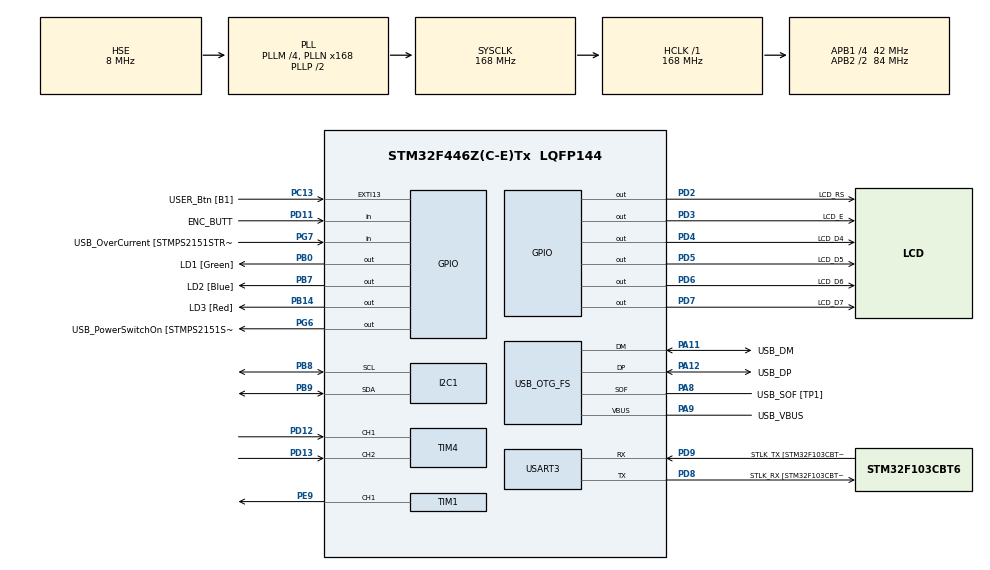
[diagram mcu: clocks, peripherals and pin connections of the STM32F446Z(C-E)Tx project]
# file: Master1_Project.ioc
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FREERTOS.Events01=smEvent,Dynamic,NULL;funcEvent,Dynamic,NULL;ledEvent,Dynamic,NULL
FREERTOS.Mutexes01=mpuMode,Dynamic,NULL,Available;convMode,Dynamic,NULL,Available
FREERTOS.Queues01=myADXLQueue,16,uint16_t,0,Dynamic,NULL,NULL;myVibratorQueue,16,uint16_t,0,Dynamic,NULL,NULL
FREERTOS.Tasks01=defaultTask,24,128,StartDefaultTask,Default,NULL,Dynamic,NULL,NULL;encoderTask,8,128,encoder,Default,NULL,Dynamic,NULL,NULL;SM_Task,8,128,StateMachine,Default,NULL,Dynamic,NULL,NULL;ledsTask,8,128,leds,Default,NULL,Dynamic,NULL,NULL;infoFuncTask,8,128,infoFunc,Default,NULL,Dynamic,NULL,NULL;sensFuncTask,8,128,sensFunc,Default,NULL,Dynamic,NULL,NULL;convFuncTask,8,128,convFunc,Default,NULL,Dynamic,NULL,NULL;actFuncTask,8,128,actFunc,Default,NULL,Dynamic,NULL,NULL;mpuFuncTask,8,128,mpuFunc,Default,NULL,Dynamic,NULL,NULL;MappingThread,8,128,StartMappingThread,Default,NULL,Dynamic,NULL,NULL;DutycycleThread,8,128,StartDutycycleThread,Default,NULL,Dynamic,NULL,NULL;VibratorThread,8,128,StartVibratorThread,Default,NULL,Dynamic,NULL,NULL
I2C1.I2C_Mode=I2C_Fast
Mcu.Family=STM32F4
Mcu.Name=STM32F446Z(C-E)Tx
Mcu.Package=LQFP144
NVIC.PriorityGroup=NVIC_PRIORITYGROUP_4
NVIC.TIM4_IRQn=true\:5\:0\:false\:false\:true\:true\:true\:true\:true
PA10.GPIO_Label=USB_ID
PA10.Signal=USB_OTG_FS_ID
PA11.GPIO_Label=USB_DM
PA11.Mode=Device_Only
PA11.Signal=USB_OTG_FS_DM
PA12.GPIO_Label=USB_DP
PA12.Mode=Device_Only
PA12.Signal=USB_OTG_FS_DP
PA13.GPIO_Label=TMS
PA13.Mode=Serial_Wire
PA13.Signal=SYS_JTMS-SWDIO
PA14.GPIO_Label=TCK
PA14.Mode=Serial_Wire
PA14.Signal=SYS_JTCK-SWCLK
PA8.GPIO_Label=USB_SOF [TP1]
PA8.Mode=Activate_SOF_FS
PA8.Signal=USB_OTG_FS_SOF
PA9.GPIO_Label=USB_VBUS
PA9.Mode=Activate_VBUS
PA9.Signal=USB_OTG_FS_VBUS
PB0.GPIO_Label=LD1 [Green]
PB0.Signal=GPIO_Output
PB14.GPIO_Label=LD3 [Red]
PB14.Signal=GPIO_Output
PB7.GPIO_Label=LD2 [Blue]
PB7.Signal=GPIO_Output
PB8.Mode=I2C
PB8.Signal=I2C1_SCL
PB9.Mode=I2C
PB9.Signal=I2C1_SDA
PC13.GPIO_Label=USER_Btn [B1]
PC13.Signal=GPXTI13
PC14-OSC32_IN.Mode=LSE-External-Oscillator
PC14-OSC32_IN.Signal=RCC_OSC32_IN
PC15-OSC32_OUT.Mode=LSE-External-Oscillator
PC15-OSC32_OUT.Signal=RCC_OSC32_OUT
PD11.GPIO_Label=ENC_BUTT
PD11.GPIO_PuPd=GPIO_PULLUP
PD11.Signal=GPIO_Input
PD12.Signal=S_TIM4_CH1
PD13.Signal=S_TIM4_CH2
PD2.GPIO_Label=LCD_RS
PD2.GPIO_PuPd=GPIO_PULLDOWN
PD2.Signal=GPIO_Output
PD3.GPIO_Label=LCD_E
PD3.GPIO_PuPd=GPIO_PULLDOWN
PD3.Signal=GPIO_Output
PD4.GPIO_Label=LCD_D4
PD4.GPIO_PuPd=GPIO_PULLDOWN
PD4.Signal=GPIO_Output
PD5.GPIO_Label=LCD_D5
PD5.GPIO_PuPd=GPIO_PULLDOWN
PD5.Signal=GPIO_Output
PD6.GPIO_Label=LCD_D6
PD6.GPIO_PuPd=GPIO_PULLDOWN
PD6.Signal=GPIO_Output
PD7.GPIO_Label=LCD_D7
PD7.GPIO_PuPd=GPIO_PULLDOWN
PD7.Signal=GPIO_Output
PD8.GPIO_Label=STLK_RX [STM32F103CBT6_PA3]
PD8.Mode=Asynchronous
PD8.Signal=USART3_TX
PD9.GPIO_Label=STLK_TX [STM32F103CBT6_PA2]
PD9.Mode=Asynchronous
PD9.Signal=USART3_RX
PE9.Signal=S_TIM1_CH1
PG6.GPIO_Label=USB_PowerSwitchOn [STMPS2151STR_EN]
PG6.Signal=GPIO_Output
PG7.GPIO_Label=USB_OverCurrent [STMPS2151STR_FAULT]
PG7.Signal=GPIO_Input
PH0-OSC_IN.GPIO_Label=MCO [STM32F103CBT6_PA8]
PH0-OSC_IN.Mode=HSE-External-Clock-Source
PH0-OSC_IN.Signal=RCC_OSC_IN
PH1-OSC_OUT.Mode=HSE-External-Clock-Source
PH1-OSC_OUT.Signal=RCC_OSC_OUT
ProjectManager.HeapSize=0x200
ProjectManager.StackSize=0x400
ProjectManager.TargetToolchain=STM32CubeIDE
RCC.48MHZClocksFreq_Value=24000000
RCC.AHBFreq_Value=168000000
RCC.APB1CLKDivider=RCC_HCLK_DIV4
RCC.APB1Freq_Value=42000000
RCC.APB1TimFreq_Value=84000000
RCC.APB2CLKDivider=RCC_HCLK_DIV2
RCC.APB2Freq_Value=84000000
RCC.APB2TimFreq_Value=168000000
RCC.CortexFreq_Value=168000000
RCC.HCLKFreq_Value=168000000
RCC.HSE_VALUE=8000000
RCC.HSI_VALUE=16000000
RCC.PLLM=4
RCC.PLLMUL=RCC_PLL_MUL9
RCC.PLLN=168
RCC.PLLQ=7
RCC.PRESCALERUSB=RCC_USBCLKSOURCE_PLL_DIV1_5
RCC.SYSCLKFreq_VALUE=168000000
RCC.SYSCLKSource=RCC_SYSCLKSOURCE_PLLCLK
RCC.SYSCLKSourceVirtual=RCC_SYSCLKSOURCE_PLLCLK
RCC.USBFreq_Value=48000000
RCC.VCOOutputFreq_Value=336000000
SH.S_TIM1_CH1.0=TIM1_CH1,PWM Generation1 CH1
SH.S_TIM4_CH1.0=TIM4_CH1,Encoder_Interface
SH.S_TIM4_CH2.0=TIM4_CH2,Encoder_Interface
TIM1.Channel-PWM\ Generation1\ CH1=TIM_CHANNEL_1
TIM1.Period=999
TIM1.Prescaler=15
TIM1.Pulse-PWM\ Generation1\ CH1=32767
TIM4.EncoderMode=TIM_ENCODERMODE_TI12
TIM4.IC1Polarity=TIM_ICPOLARITY_FALLING
TIM4.IC2Polarity=TIM_ICPOLARITY_FALLING
USART3.VirtualMode=VM_ASYNC
USB_OTG_FS.VirtualMode=Device_Only
VP_FREERTOS_VS_CMSIS_V2.Mode=CMSIS_V2
board=NUCLEO-F446ZE

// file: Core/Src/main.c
/* USER CODE BEGIN Header */
/**
  ******************************************************************************
  * @file           : main.c
  * @brief          : Main program body
  ******************************************************************************
  * @attention
  *
  * Copyright (c) 2025 STMicroelectronics.
  * All rights reserved.
  *
  * This software is licensed under terms that can be found in the LICENSE file
  * in the root directory of this software component.
  * If no LICENSE file comes with this software, it is provided AS-IS.
  *
  ******************************************************************************
  */
/* USER CODE END Header */
#include "main.h"
#include "cmsis_os.h"
#include "i2c.h"
#include "tim.h"
#include "usart.h"
#include "usb_otg.h"
#include "gpio.h"

/* USER CODE BEGIN Includes */
#include "lcd.h"
#include "ADXL345.h"
/* USER CODE END Includes */

void SystemClock_Config(void);
void MX_FREERTOS_Init(void);

int main(void)
{

  /* MCU Configuration--------------------------------------------------------*/

  /* Reset of all peripherals, Initializes the Flash interface and the Systick. */
  HAL_Init();

  /* Configure the system clock */
  SystemClock_Config();

  /* Initialize all configured peripherals */
  MX_GPIO_Init();
  MX_USART3_UART_Init();
  MX_USB_OTG_FS_PCD_Init();
  MX_TIM4_Init();
  MX_TIM1_Init();
  MX_I2C1_Init();
  /* USER CODE BEGIN 2 */
  HAL_TIM_Encoder_Start(&htim4, TIM_CHANNEL_ALL); // start encoder mode on TIM4
  HAL_TIM_PWM_Start(&htim1, TIM_CHANNEL_1); // start PWM D6 for VM

  HAL_Delay(100);
  initLCD();
  //ADXL345_Init();
  /* USER CODE END 2 */

  /* Init scheduler */
  osKernelInitialize();

  /* Call init function for freertos objects (in cmsis_os2.c) */
  MX_FREERTOS_Init();

  /* Start scheduler */
  osKernelStart();

  /* We should never get here as control is now taken by the scheduler */

  /* Infinite loop */
  while (1)
  {

  }
}

void SystemClock_Config(void)
{
  RCC_OscInitTypeDef RCC_OscInitStruct = {0};
  RCC_ClkInitTypeDef RCC_ClkInitStruct = {0};

  /** Configure the main internal regulator output voltage
  */
  __HAL_RCC_PWR_CLK_ENABLE();
  __HAL_PWR_VOLTAGESCALING_CONFIG(PWR_REGULATOR_VOLTAGE_SCALE1);

  /** Initializes the RCC Oscillators according to the specified parameters
  * in the RCC_OscInitTypeDef structure.
  */
  RCC_OscInitStruct.OscillatorType = RCC_OSCILLATORTYPE_HSE;
  RCC_OscInitStruct.HSEState = RCC_HSE_BYPASS;
  RCC_OscInitStruct.PLL.PLLState = RCC_PLL_ON;
  RCC_OscInitStruct.PLL.PLLSource = RCC_PLLSOURCE_HSE;
  RCC_OscInitStruct.PLL.PLLM = 4;
  RCC_OscInitStruct.PLL.PLLN = 168;
  RCC_OscInitStruct.PLL.PLLP = RCC_PLLP_DIV2;
  RCC_OscInitStruct.PLL.PLLQ = 7;
  RCC_OscInitStruct.PLL.PLLR = 2;
  if (HAL_RCC_OscConfig(&RCC_OscInitStruct) != HAL_OK)
  {
    Error_Handler();
  }

  /** Initializes the CPU, AHB and APB buses clocks
  */
  RCC_ClkInitStruct.ClockType = RCC_CLOCKTYPE_HCLK|RCC_CLOCKTYPE_SYSCLK
                              |RCC_CLOCKTYPE_PCLK1|RCC_CLOCKTYPE_PCLK2;
  RCC_ClkInitStruct.SYSCLKSource = RCC_SYSCLKSOURCE_PLLCLK;
  RCC_ClkInitStruct.AHBCLKDivider = RCC_SYSCLK_DIV1;
  RCC_ClkInitStruct.APB1CLKDivider = RCC_HCLK_DIV4;
  RCC_ClkInitStruct.APB2CLKDivider = RCC_HCLK_DIV2;

  if (HAL_RCC_ClockConfig(&RCC_ClkInitStruct, FLASH_LATENCY_5) != HAL_OK)
  {
    Error_Handler();
  }
}

void Error_Handler(void)
{
  __disable_irq();
  while (1)
  {
  }
}

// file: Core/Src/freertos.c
/* USER CODE BEGIN Header */
/**
  ******************************************************************************
  * File Name          : freertos.c
  * Description        : Code for freertos applications
  ******************************************************************************
  * @attention
  *
  * Copyright (c) 2025 STMicroelectronics.
  * All rights reserved.
  *
  * This software is licensed under terms that can be found in the LICENSE file
  * in the root directory of this software component.
  * If no LICENSE file comes with this software, it is provided AS-IS.
  *
  ******************************************************************************
  */
/* USER CODE END Header */

#include "FreeRTOS.h"
#include "task.h"
#include "main.h"
#include "cmsis_os.h"

/* USER CODE BEGIN Includes */
#include "tim.h"
#include "encoder.h"
#include "lcd.h"
#include "menu.h"
#include <stdio.h>
#include "ADXL345.h"
/* USER CODE END Includes */

/* USER CODE BEGIN PD */
#define FLAG_LED1		0x0001
#define FLAG_LED2		0x0002
#define FLAG_LED3		0x0004
/* USER CODE END PD */

/* USER CODE BEGIN Variables */
uint8_t conv_mode = 0; // 0 auto 1 manual
uint8_t mpu_mode = 0; // 0 acc 1 gyro 2 chock 3 threshold
/* USER CODE END Variables */
/* Definitions for defaultTask */
osThreadId_t defaultTaskHandle;
const osThreadAttr_t defaultTask_attributes = {
  .name = "defaultTask",
  .stack_size = 128 * 4,
  .priority = (osPriority_t) osPriorityNormal,
};
/* Definitions for encoderTask */
osThreadId_t encoderTaskHandle;
const osThreadAttr_t encoderTask_attributes = {
  .name = "encoderTask",
  .stack_size = 128 * 4,
  .priority = (osPriority_t) osPriorityLow,
};
/* Definitions for SM_Task */
osThreadId_t SM_TaskHandle;
const osThreadAttr_t SM_Task_attributes = {
  .name = "SM_Task",
  .stack_size = 128 * 4,
  .priority = (osPriority_t) osPriorityLow,
};
/* Definitions for ledsTask */
osThreadId_t ledsTaskHandle;
const osThreadAttr_t ledsTask_attributes = {
  .name = "ledsTask",
  .stack_size = 128 * 4,
  .priority = (osPriority_t) osPriorityLow,
};
/* Definitions for infoFuncTask */
osThreadId_t infoFuncTaskHandle;
const osThreadAttr_t infoFuncTask_attributes = {
  .name = "infoFuncTask",
  .stack_size = 128 * 4,
  .priority = (osPriority_t) osPriorityLow,
};
/* Definitions for sensFuncTask */
osThreadId_t sensFuncTaskHandle;
const osThreadAttr_t sensFuncTask_attributes = {
  .name = "sensFuncTask",
  .stack_size = 128 * 4,
  .priority = (osPriority_t) osPriorityLow,
};
/* Definitions for convFuncTask */
osThreadId_t convFuncTaskHandle;
const osThreadAttr_t convFuncTask_attributes = {
  .name = "convFuncTask",
  .stack_size = 128 * 4,
  .priority = (osPriority_t) osPriorityLow,
};
/* Definitions for actFuncTask */
osThreadId_t actFuncTaskHandle;
const osThreadAttr_t actFuncTask_attributes = {
  .name = "actFuncTask",
  .stack_size = 128 * 4,
  .priority = (osPriority_t) osPriorityLow,
};
/* Definitions for mpuFuncTask */
osThreadId_t mpuFuncTaskHandle;
const osThreadAttr_t mpuFuncTask_attributes = {
  .name = "mpuFuncTask",
  .stack_size = 128 * 4,
  .priority = (osPriority_t) osPriorityLow,
};
/* Definitions for MappingThread */
osThreadId_t MappingThreadHandle;
const osThreadAttr_t MappingThread_attributes = {
  .name = "MappingThread",
  .stack_size = 128 * 4,
  .priority = (osPriority_t) osPriorityLow,
};
/* Definitions for DutycycleThread */
osThreadId_t DutycycleThreadHandle;
const osThreadAttr_t DutycycleThread_attributes = {
  .name = "DutycycleThread",
  .stack_size = 128 * 4,
  .priority = (osPriority_t) osPriorityLow,
};
/* Definitions for VibratorThread */
osThreadId_t VibratorThreadHandle;
const osThreadAttr_t VibratorThread_attributes = {
  .name = "VibratorThread",
  .stack_size = 128 * 4,
  .priority = (osPriority_t) osPriorityLow,
};
/* Definitions for myADXLQueue */
osMessageQueueId_t myADXLQueueHandle;
const osMessageQueueAttr_t myADXLQueue_attributes = {
  .name = "myADXLQueue"
};
/* Definitions for myVibratorQueue */
osMessageQueueId_t myVibratorQueueHandle;
const osMessageQueueAttr_t myVibratorQueue_attributes = {
  .name = "myVibratorQueue"
};
/* Definitions for mpuMode */
osMutexId_t mpuModeHandle;
const osMutexAttr_t mpuMode_attributes = {
  .name = "mpuMode"
};
/* Definitions for convMode */
osMutexId_t convModeHandle;
const osMutexAttr_t convMode_attributes = {
  .name = "convMode"
};
/* Definitions for smEvent */
osEventFlagsId_t smEventHandle;
const osEventFlagsAttr_t smEvent_attributes = {
  .name = "smEvent"
};
/* Definitions for funcEvent */
osEventFlagsId_t funcEventHandle;
const osEventFlagsAttr_t funcEvent_attributes = {
  .name = "funcEvent"
};
/* Definitions for ledEvent */
osEventFlagsId_t ledEventHandle;
const osEventFlagsAttr_t ledEvent_attributes = {
  .name = "ledEvent"
};

/* USER CODE BEGIN FunctionPrototypes */
void exitFunc(void);
/* USER CODE END FunctionPrototypes */

void StartDefaultTask(void *argument);
void encoder(void *argument);
void StateMachine(void *argument);
void leds(void *argument);
void infoFunc(void *argument);
void sensFunc(void *argument);
void convFunc(void *argument);
void actFunc(void *argument);
void mpuFunc(void *argument);
void StartMappingThread(void *argument);
void StartDutycycleThread(void *argument);
void StartVibratorThread(void *argument);

void MX_FREERTOS_Init(void); /* (MISRA C 2004 rule 8.1) */

void MX_FREERTOS_Init(void) {
  /* Create the mutex(es) */
  /* creation of mpuMode */
  mpuModeHandle = osMutexNew(&mpuMode_attributes);

  /* creation of convMode */
  convModeHandle = osMutexNew(&convMode_attributes);

  /* Create the queue(s) */
  /* creation of myADXLQueue */
  myADXLQueueHandle = osMessageQueueNew (16, sizeof(uint16_t), &myADXLQueue_attributes);

  /* creation of myVibratorQueue */
  myVibratorQueueHandle = osMessageQueueNew (16, sizeof(uint16_t), &myVibratorQueue_attributes);

  /* Create the thread(s) */
  /* creation of defaultTask */
  defaultTaskHandle = osThreadNew(StartDefaultTask, NULL, &defaultTask_attributes);

  /* creation of encoderTask */
  encoderTaskHandle = osThreadNew(encoder, NULL, &encoderTask_attributes);

  /* creation of SM_Task */
  SM_TaskHandle = osThreadNew(StateMachine, NULL, &SM_Task_attributes);

  /* creation of ledsTask */
  ledsTaskHandle = osThreadNew(leds, NULL, &ledsTask_attributes);

  /* creation of infoFuncTask */
  infoFuncTaskHandle = osThreadNew(infoFunc, NULL, &infoFuncTask_attributes);

  /* creation of sensFuncTask */
  sensFuncTaskHandle = osThreadNew(sensFunc, NULL, &sensFuncTask_attributes);

  /* creation of convFuncTask */
  convFuncTaskHandle = osThreadNew(convFunc, NULL, &convFuncTask_attributes);

  /* creation of actFuncTask */
  actFuncTaskHandle = osThreadNew(actFunc, NULL, &actFuncTask_attributes);

  /* creation of mpuFuncTask */
  mpuFuncTaskHandle = osThreadNew(mpuFunc, NULL, &mpuFuncTask_attributes);

  /* creation of MappingThread */
  MappingThreadHandle = osThreadNew(StartMappingThread, NULL, &MappingThread_attributes);

  /* creation of DutycycleThread */
  DutycycleThreadHandle = osThreadNew(StartDutycycleThread, NULL, &DutycycleThread_attributes);

  /* creation of VibratorThread */
  VibratorThreadHandle = osThreadNew(StartVibratorThread, NULL, &VibratorThread_attributes);

  /* creation of smEvent */
  smEventHandle = osEventFlagsNew(&smEvent_attributes);

  /* creation of funcEvent */
  funcEventHandle = osEventFlagsNew(&funcEvent_attributes);

  /* creation of ledEvent */
  ledEventHandle = osEventFlagsNew(&ledEvent_attributes);

}

void StartDefaultTask(void *argument)
{
  for(;;)
  {
    osDelay(1);
  }
}

void encoder(void *argument)
{
  /* USER CODE BEGIN encoder */
  /* Infinite loop */
  for(;;)
  {
		encoder_update();
		encoder_button_update();

		osDelay(10);  // 100 Hz
  }
  /* USER CODE END encoder */
}

void StateMachine(void *argument)
{
  /* USER CODE BEGIN StateMachine */
  static bool FIF = false;
  static int16_t last_step = -1;  // Rendue statique pour garder la valeur entre les appels

  for(;;)
  {
    uint32_t flags = osEventFlagsGet(smEventHandle);

    if (!(flags & FLAG_SM_OFF))  // tant que menu actif
    {
      if (!FIF) {
        if (last_step >= 0) {
          encoder_set_step(last_step);  // Revenir à la dernière position connue
        }

        encoder_set_min(0);
        encoder_set_max(4);

        const menu_state_t *entry = NULL;
        for (int i = 0; menu_state[i].text != NULL; i++) {
          if (menu_state[i].step == last_step) {
            entry = &menu_state[i];
            break;
          }
        }

        if (entry != NULL) {
          clearLCD();
          setCursor(0, 0);
          writeLCD(entry->text);  // Réafficher le texte correspondant
        }

        FIF = true;  // On a fait le setup d'entrée
      }

      osEventFlagsSet(ledEventHandle, FLAG_LED1);  // Clignotement menu actif

      int16_t step = encoder_get_steps();
      bool button = encoder_get_button();

      if (step != last_step)
      {
        const menu_state_t *entry = NULL;
        for (int i = 0; menu_state[i].text != NULL; i++) {
          if (menu_state[i].step == step) {
            entry = &menu_state[i];
            break;
          }
        }

        if (entry != NULL) {
          clearLCD();
          setCursor(0, 0);
          writeLCD(entry->text);
          last_step = step;
        }
      }

      if (button)
      {
        osEventFlagsSet(ledEventHandle, FLAG_LED2);

        const menu_state_t *entry = NULL;
        for (int i = 0; menu_state[i].text != NULL; i++) {
          if (menu_state[i].step == step) {
            entry = &menu_state[i];
            break;
          }
        }

        if (entry != NULL) {
          osEventFlagsSet(funcEventHandle, entry->flag); // set task flag
          osEventFlagsSet(smEventHandle, FLAG_SM_OFF);   // exit statemachine
          FIF = false;  // Réinitialise pour le prochain retour dans le menu
        }
      }
    }
    else
    {
      osDelay(100);  // Repos hors mode menu
    }

    osDelay(20); // 50 Hz
  }
  /* USER CODE END StateMachine */
}

void leds(void *argument)
{
  /* USER CODE BEGIN leds */
  /* Infinite loop */
  for(;;)
  {
	  uint32_t flags = osEventFlagsWait(ledEventHandle, FLAG_LED1|FLAG_LED2|FLAG_LED3, osFlagsWaitAny, osWaitForever);

	  if (flags & FLAG_LED1) {
		HAL_GPIO_WritePin(LD1_GPIO_Port, LD1_Pin, GPIO_PIN_SET);
		osDelay(50);
		HAL_GPIO_WritePin(LD1_GPIO_Port, LD1_Pin, GPIO_PIN_RESET);

	  }

	  if (flags & FLAG_LED2) {
		HAL_GPIO_WritePin(LD2_GPIO_Port, LD2_Pin, GPIO_PIN_SET);
		osDelay(50);
		HAL_GPIO_WritePin(LD2_GPIO_Port, LD2_Pin, GPIO_PIN_RESET);

	  }

	  if (flags & FLAG_LED3) {
		HAL_GPIO_WritePin(LD3_GPIO_Port, LD3_Pin, GPIO_PIN_SET);
		osDelay(50);
		HAL_GPIO_WritePin(LD3_GPIO_Port, LD3_Pin, GPIO_PIN_RESET);
	  }
		osDelay(50);
  }
  /* USER CODE END leds */
}

void infoFunc(void *argument)
{
  /* USER CODE BEGIN infoFunc */
  static bool FIF = false; // first in function
  /* Infinite loop */
  for(;;)
  {
	  uint32_t flags = osEventFlagsGet(funcEventHandle);

	  if (flags & FLAG_INFO) {
		  if (!FIF) {
			  clearLCD();
			  setCursor(0, 0);
			  writeLCD("Julien NAVEZ");
			  setCursor(0, 1);
			  writeLCD("Nattan PAPIER");

			  FIF = true;
		  } else {
			  bool button = encoder_get_button();

			  if (button) {
				  exitFunc();
				  FIF = false;
			  }
		  }
	  }
  }
  /* USER CODE END infoFunc */
}

void sensFunc(void *argument)
{
  /* USER CODE BEGIN sensFunc */
  int16_t step = 0;
  int16_t x_gyro = 0, y_gyro = 0, z_gyro = 0;
  /* Infinite loop */
  for(;;)
  {
	  uint32_t flags = osEventFlagsGet(funcEventHandle);

	  if (flags & FLAG_SENSOR) {
		  encoder_set_min(0);
		  encoder_set_max(0);

		  step = encoder_get_steps();

		  clearLCD();
		  /*if (step == 0) {
			  setCursor(0, 0);
			  writeLCD("ax");
			  writeLCD("0.000");
			  writeLCD(" ay");
			  writeLCD("0.000");

			  setCursor(0, 1);
			  writeLCD("az");
			  writeLCD("0.000");
		  } else if (step == 1) {
			  setCursor(0, 0);
			  writeLCD("gx");
			  writeLCD("0.000");
			  writeLCD(" gy");
			  writeLCD("0.000");

			  setCursor(0, 1);
			  writeLCD("gz");
			  writeLCD("0.000");
		  }*/

		  if (step == 0) {
		      ADXL345_ReadData(&x_gyro, &y_gyro, &z_gyro);

		      char x_str[16];
		      char y_str[16];
		      char z_str[16];
			  snprintf(x_str, sizeof(x_str), "%d", x_gyro);
			  snprintf(y_str, sizeof(y_str), "%d", y_gyro);
			  snprintf(z_str, sizeof(z_str), "%d", z_gyro);

			  setCursor(0, 0);
			  writeLCD("Gx:");
			  writeLCD(x_str);
			  writeLCD(" Gy:");
			  writeLCD(y_str);

			  setCursor(0, 1);
			  writeLCD("Gz:");
			  writeLCD(z_str);
		  }

		  bool button = encoder_get_button();

		  if (button) {
			  exitFunc();
		  }

		  osDelay(200);
	  }
  }
  /* USER CODE END sensFunc */
}

void convFunc(void *argument)
{
  /* USER CODE BEGIN convFunc */
  static bool FIF = false; // first in function
  static int16_t step = 0;
  static int16_t last_step = -1;
  char *mode[] = {
		  "AUTO",
		  "MANUAL"
  };
  /* Infinite loop */
  for(;;)
  {
	  uint32_t flags = osEventFlagsGet(funcEventHandle);

	  if (flags & FLAG_CONV) {
		  encoder_set_min(0);
		  encoder_set_max(1);

		  if (!FIF) {
			  clearLCD();
			  setCursor(0, 0);
			  writeLCD("Mode:");

			  FIF = true;
			  encoder_set_step(step);
			  last_step = -1;
		  } else {
			  step = encoder_get_steps();

			  if(step != last_step) {
				  last_step = step;

				  setCursor(0, 1);
				  writeLCD("                ");
				  setCursor(0, 1);

				  if (step < sizeof(mode)) {
					  writeLCD(mode[step]);
				  }

				  osMutexAcquire(convModeHandle, osWaitForever);

				  conv_mode = (uint8_t) step;

				  osMutexRelease(convModeHandle);
			  }

			  bool button = encoder_get_button();

			  if (button) {
				  exitFunc();
				  FIF = false;
			  }
		  }
	  }

	  osDelay(1);
  }
  /* USER CODE END convFunc */
}

void actFunc(void *argument)
{
  /* USER CODE BEGIN actFunc */
  static bool FIF = false; // first in function
  char *mode[] = {
		  "AUTO",
		  "MAN"
	};
  static int16_t step = 0;
  static int16_t last_step = -1;
  uint32_t DC = 0;
  static uint32_t last_DC = -1;
  /* Infinite loop */
  for(;;)
  {
	  uint32_t flags = osEventFlagsGet(funcEventHandle);

	  if (flags & FLAG_ACT) {
		  if (!FIF) {
			  clearLCD();
			  setCursor(0, 0);
			  writeLCD("VM QYF-740  ");
			  if (conv_mode >= 0 && conv_mode < sizeof(mode)) {
				  writeLCD(mode[conv_mode]);
			  }

			  FIF = true;
			  encoder_set_step(step);
			  last_step = -1;
		  } else {
			  osMutexAcquire(convModeHandle, osWaitForever);
			  if (conv_mode == 0) {
				  setCursor(0, 1);
				  writeLCD("Setpoint: ");
				  //TIM1->CCR1 = (dutyCycle * (TIM1->ARR + 1)) / 100; // Set duty cycle

				  DC = 100 * TIM1->CCR1 / (TIM1->ARR + 1);

				  if (DC != last_DC) {
					  last_DC = DC;

					  char buffer[16];
					  snprintf(buffer, sizeof(buffer), "%ld", DC);

					  writeLCD(buffer); // auto setpoint variable
					  writeLCD(" %");
				  }
			  } else if (conv_mode == 1) {
				  encoder_set_min(30);
				  encoder_set_max(100);

				  step = encoder_get_steps();

				  if (step != last_step) {
					  last_step = step;
					  setCursor(0, 1);
					  writeLCD("PWM: ");

					  char buffer[16];
					  snprintf(buffer, sizeof(buffer), "%d", step);

					  writeLCD(buffer);
					  writeLCD("%   ");

					  // TODO SET PWM VALUE
					  TIM1->CCR1 = (step * (TIM1->ARR + 1)) / 100; // Set duty cycle
				  }
			  }

			  osMutexRelease(convModeHandle);

			  bool button = encoder_get_button();

			  if (button) {
				  exitFunc();
				  FIF = false;
			  }
		  }
	  }

	  osDelay(1);
  }
  /* USER CODE END actFunc */
}

void mpuFunc(void *argument)
{
  /* USER CODE BEGIN mpuFunc */
	static bool FIF = false; // first in function
	static int16_t step = 0;
	static int16_t last_step = -1;
	char *mode[] = {
		  "X-Axis",
		  "Y-Axis",
		  "Z-Axis"
	};
	/* Infinite loop */
	for(;;)
	{
	  uint32_t flags = osEventFlagsGet(funcEventHandle);

	  if (flags & FLAG_MPU) {
		  encoder_set_min(0);
		  encoder_set_max(2);

		  if (!FIF) {
			  clearLCD();
			  setCursor(0, 0);
			  writeLCD("MPU Mode:");

			  FIF = true;
			  encoder_set_step(step);
			  last_step = -1;
		  } else {
			  step = encoder_get_steps();

			  if(step != last_step) {
				  last_step = step;

				  setCursor(0, 1);
				  writeLCD("                ");
				  setCursor(0, 1);

				  if (step < sizeof(mode)) {
					  writeLCD(mode[step]);
				  }

				  osMutexAcquire(mpuModeHandle, osWaitForever);

				  mpu_mode = (uint8_t) step;

				  osMutexRelease(mpuModeHandle);
			  }

			  bool button = encoder_get_button();

			  if (button) {
				  exitFunc();
				  FIF = false;
			  }
		  }
	  }

	  osDelay(1);
	}
  /* USER CODE END mpuFunc */
}

void StartMappingThread(void *argument)
{
  /* USER CODE BEGIN StartMappingThread */
	int16_t input_value = 0; // Example input value
	int16_t input_min = -280;    // Input range minimum
	int16_t input_max = 280;  // Input range maximum
	int16_t output_min = 30;  // Output range minimum
	int16_t output_max = 100; // Output range maximum

	int16_t valueReceived;
	int16_t valueToSend;
	/* Infinite loop */
	for(;;)
	{

	  osMessageQueueGet(myADXLQueueHandle, &valueReceived, 0,osWaitForever);

	  int16_t map_value(int16_t input_value, int16_t input_min, int16_t input_max, int16_t output_min, int16_t output_max) {
	return (input_value - input_min) * (output_max - output_min) / (input_max - input_min) + output_min;
			}

	  input_value = valueReceived;

	  int16_t mapped_value = map_value(input_value, input_min, input_max, output_min, output_max);

	  valueToSend = mapped_value;

	  osMessageQueuePut(myVibratorQueueHandle, &valueToSend, 0,0);

	  //sprintf(buffer, "Valeur: %d\r\n", mapped_value);
	  //HAL_UART_Transmit(&huart3, (uint16_t *)buffer, strlen(buffer), HAL_MAX_DELAY);

	  osDelay(500);
	}
  /* USER CODE END StartMappingThread */
}

void StartDutycycleThread(void *argument)
{
  /* USER CODE BEGIN StartDutycycleThread */
  uint8_t dutyCycle = 50;

  int16_t valueReceived;
  /* Infinite loop */
  for(;;)
  {
	osEventFlagsSet(ledEventHandle, FLAG_LED3);
	osMessageQueueGet(myVibratorQueueHandle, &valueReceived, 0,osWaitForever);

	dutyCycle = valueReceived;
	if (dutyCycle > 100) dutyCycle = 100; // Clamp duty cycle to 100%

	osMutexAcquire(convModeHandle, osWaitForever);
	if (conv_mode == 0) TIM1->CCR1 = (dutyCycle * (TIM1->ARR + 1)) / 100; // Set duty cycle
	osMutexRelease(convModeHandle);

	//sprintf(buffer, "duty cycle: %d\r\n", dutyCycle);
	//HAL_UART_Transmit(&huart3, (uint8_t *)buffer, strlen(buffer), HAL_MAX_DELAY);
	osDelay(500);
  }
  /* USER CODE END StartDutycycleThread */
}

void StartVibratorThread(void *argument)
{
  /* USER CODE BEGIN StartVibratorThread */
	int16_t x_gyro = 0, y_gyro = 0, z_gyro = 0;

	int16_t valueToSend;
  /* Infinite loop */
  for(;;)
  {
      ADXL345_ReadData(&x_gyro, &y_gyro, &z_gyro);

      osMutexAcquire(mpuModeHandle, osWaitForever);
	  switch (mpu_mode) {
		  case 0: // Send x-axis data
			  valueToSend = x_gyro;
			  break;
		  case 1: // Send y-axis data
			  valueToSend = y_gyro;
			  break;
		  case 2: // Send z-axis data
			  valueToSend = z_gyro;
			  break;
		  default:
			  break;
	  }
	  osMutexRelease(mpuModeHandle);

      osMessageQueuePut(myADXLQueueHandle, &valueToSend, 0,0);

      //sprintf(buffer, "X: %d, Y: %d, Z: %d\r\n", x_gyro, y_gyro, z_gyro);
      //HAL_UART_Transmit(&huart3, (uint16_t *)buffer, strlen(buffer), HAL_MAX_DELAY);

      osDelay(500);

  }
  /* USER CODE END StartVibratorThread */
}

/* USER CODE BEGIN Application */
void exitFunc(void) {
	encoder_reset_position();

	if (funcEventHandle != NULL) {
		osEventFlagsClear(funcEventHandle, FLAG_INFO);
		osEventFlagsClear(funcEventHandle, FLAG_SENSOR);
		osEventFlagsClear(funcEventHandle, FLAG_CONV);
		osEventFlagsClear(funcEventHandle, FLAG_ACT);
		osEventFlagsClear(funcEventHandle, FLAG_MPU);
	}
		//osEventFlagsSet(funcEventHandle, 0xFFFFFFFF);

	if (smEventHandle != NULL)
		osEventFlagsClear(smEventHandle, FLAG_SM_OFF);
}
/* USER CODE END Application */
